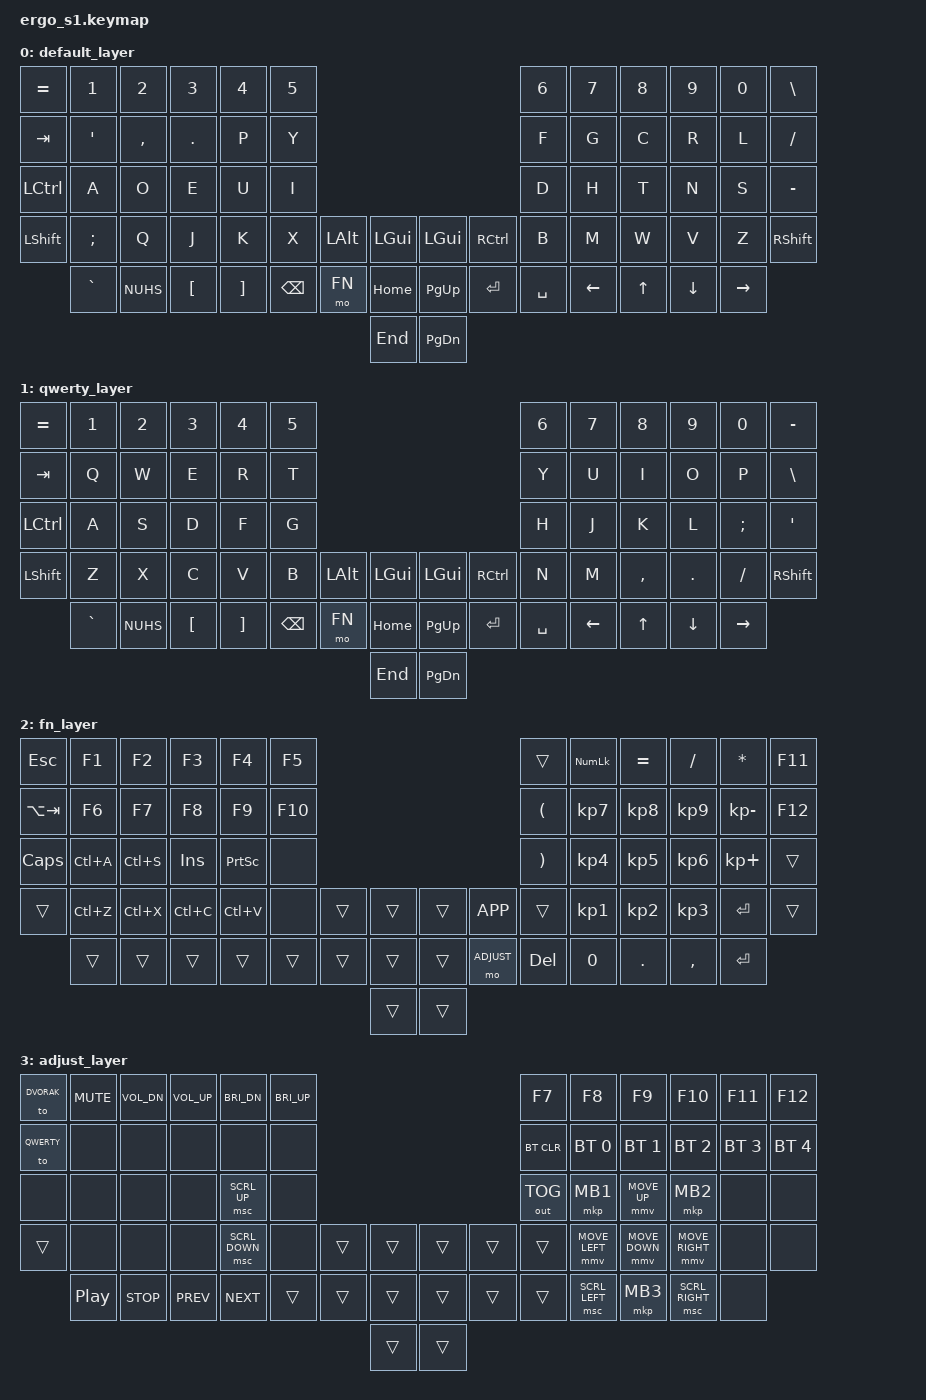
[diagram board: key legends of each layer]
/*
 * Copyright (c) 2021 The ZMK Contributors
 *
 * SPDX-License-Identifier: MIT
 */

#define DVORAK 0
#define QWERTY 1
#define FN 2
#define ADJUST 3

#include <behaviors.dtsi>
#include <dt-bindings/zmk/keys.h>
#include <dt-bindings/zmk/bt.h>
#include <dt-bindings/zmk/ext_power.h>
#include <dt-bindings/zmk/outputs.h>
#include <dt-bindings/zmk/pointing.h>

// |------|------|------|------|------|------|                                                |------|------|------|------|------|------|
// | SW1  | SW2  | SW3  | SW4  | SW5  | SW6  |                                                | SW6  | SW5  | SW4  | SW3  | SW2  | SW1  |
// |------|------|------|------|------|------|                                                |------|------|------|------|------|------|
// | SW7  | SW8  | SW9  | SW10 | SW11 | SW12 |                                                | SW12 | SW11 | SW10 | SW9  | SW8  | SW7  |
// |------|------|------|------|------|------|                                                |------|------|------|------|------|------|
// | SW13 | SW14 | SW15 | SW16 | SW17 | SW18 |                                                | SW18 | SW17 | SW16 | SW15 | SW14 | SW13 |
// |------|------|------|------|------|------|------|------|                    |------|------|------|------|------|------|------|------|
// | SW19 | SW20 | SW21 | SW22 | SW23 | SW24 | SW25 | SW26 |                    | SW26 | SW25 | SW24 | SW23 | SW22 | SW21 | SW20 | SW19 |
// |------|------|------|------|------|------|------|------|                    |------|------|------|------|------|------|------|------|
// |      | SW27 | SW28 | SW29 | SW30 | SW31 | SW32 | SW33 |                    | SW33 | SW32 | SW31 | SW30 | SW29 | SW28 | SW27 |      |
// |------|------|------|------|------|      |      |------|                    |------|      |      |------|------|------|------|------|
//                                    |      |      | SW34 |                    | SW34 |      |      |
//                                    |------|------|------|                    |------|------|------|

/ {
    keymap {
        compatible = "zmk,keymap";

        default_layer {
            // ---------------------------------------------------------------------------------------------------------------------------------
            // | EQLS  |  1   |  2   |  3   |  4   |  5   |                                                   |  6   |  7   |  8   |  9   |  0   | \    |
            // | TAB   |  "   |  <   |  >   |  P   |  Y   |                                                   |  F   |  G   |  C   |  R   |  L   | SLSH |
            // | LCTRL |  A   |  O   |  E   |  U   |  I   |                                                   |  D   |  H   |  T   |  N   |  S   | MINS |
            // | LSHFT |  ;   |  Q   |  J   |  K   |  X   |      | ALT  | WIN  |         | WIN  | CTL  |      |  B   |  M   |  W   |  V   |  Z   | SHFT |
            //         | GRV  |  #/~ |  [   |  ]   |      | BSPC |  FN  | HOME |         | PGUP | ENT  | SPC  |      | LEFT |  UP  |  DN  | RIGH |
            //                                                          | END  |         | PGDN |

            bindings = <
&kp EQUAL   &kp N1     &kp N2      &kp N3    &kp N4     &kp N5                                                                                    &kp N6  &kp N7   &kp N8     &kp N9      &kp N0     &kp BSLH
&kp TAB     &kp SQT    &kp COMMA   &kp DOT   &kp P      &kp Y                                                                                     &kp F   &kp G    &kp C      &kp R       &kp L      &kp SLASH
&kp LCTRL   &kp A      &kp O       &kp E     &kp U      &kp I                                                                                     &kp D   &kp H    &kp T      &kp N       &kp S      &kp MINUS
&kp LSHIFT  &kp SEMI   &kp Q       &kp J     &kp K      &kp X             &kp LALT          &kp LGUI        &kp LGUI       &kp RCTRL              &kp B   &kp M    &kp W      &kp V       &kp Z      &kp RSHIFT
            &kp GRAVE  &kp NUHS    &kp LBKT  &kp RBKT           &kp BSPC  &mo FN            &kp HOME        &kp PG_UP      &kp ENTER  &kp SPACE           &kp LEFT &kp UP     &kp DOWN    &kp RIGHT
                                                                                            &kp END         &kp PG_DN
            >;
        };

    qwerty_layer {
            // ---------------------------------------------------------------------------------------------------------------------------------
            // | EQLS  |  1   |  2   |  3   |  4   |  5   |                                                   |  6   |  7   |  8   |  9   |  0   | MINS |
            // | TAB   |  Q   |  W   |  E   |  R   |  T   |                                                   |  Y   |  U   |  I   |  O   |  P   | \    |
            // | LCTRL |  A   |  S   |  D   |  F   |  G   |                                                   |  D   |  J   |  K   |  L   |  ;   | "    |
            // | LSHFT |  Z   |  X   |  C   |  V   |  B   |      | ALT  | WIN  |         | WIN  | CTL  |      |  B   |  M   |  ,   |  .   |  /   | SHFT |
            //         | GRV  |  #/~ |  [   |  ]   |      | BSPC |  FN  | HOME |         | PGUP | ENT  | SPC  |      | LEFT |  UP  |  DN  | RIGH |
            //                                                          | END  |         | PGDN |
            bindings = <
&kp EQUAL   &kp N1     &kp N2      &kp N3    &kp N4     &kp N5                                                                             &kp N6  &kp N7   &kp N8     &kp N9      &kp N0     &kp MINUS
&kp TAB     &kp Q      &kp W       &kp E     &kp R      &kp T                                                                              &kp Y   &kp U    &kp I      &kp O       &kp P      &kp BSLH
&kp LCTRL   &kp A      &kp S       &kp D     &kp F      &kp G                                                                              &kp H   &kp J    &kp K      &kp L       &kp SCLN   &kp QUOT
&kp LSHIFT  &kp Z      &kp X       &kp C     &kp V      &kp B             &kp LALT   &kp LGUI        &kp LGUI       &kp RCTRL              &kp N   &kp M    &kp COMMA  &kp DOT     &kp SLASH  &kp RSHIFT
            &kp GRAVE  &kp NUHS    &kp LBKT  &kp RBKT           &kp BSPC  &mo FN     &kp HOME        &kp PG_UP      &kp ENTER  &kp SPACE           &kp LEFT &kp UP     &kp DOWN    &kp RIGHT
                                                                                     &kp END         &kp PG_DN
            >;
        };

        fn_layer {
            // ---------------------------------------------------------------------------------------------------------------------------------
            // | ESC  |  F1  |  F2  |  F3  |  F4   |  F5  |                                                   |      | NLCK |  =   |  /   |  *   | F11  |
            // | A-Tab|  F6  |  F7  |  F8  |  F9   |  F10 |                                                   |  (   |  7   |  8   |  9   |  -   | F12  |
            // | SHIFT| C-a  | C-s  | INS  | PRTSC |      |                                                   |  )   |  4   |  5   |  6   |  +   |      |
            // |      | C-z  | C-x  | C-c  | C-v   |      |      |      |      |         |      |C_MENU|      |      |  1   |  2   |  3   | ENT  |      |
            //        |      |      |      |       |      |      |  FN  |      |         |      |ADJUST|  DEL |      |  0   |  .   |  ,   | ENT  |
            //                                                          |      |         |      |

            bindings = <
&kp ESC       &kp F1     &kp F2    &kp F3     &kp F4      &kp F5                                                            &trans       &kp KP_NUM   &kp EQUAL  &kp SLASH      &kp STAR          &kp F11
&kp LA(TAB)   &kp F6     &kp F7    &kp F8     &kp F9      &kp F10                                                           &kp LPAR     &kp KP_N7    &kp KP_N8  &kp KP_N9      &kp KP_MINUS      &kp F12
&kp CAPSLOCK  &kp LC(A)  &kp LC(S) &kp INS    &kp PSCRN   &none                                                             &kp RPAR     &kp KP_N4    &kp KP_N5  &kp KP_N6      &kp KP_PLUS       &trans
&trans        &kp LC(Z)  &kp LC(X) &kp LC(C)  &kp LC(V)   &none             &trans &trans    &trans  &kp K_APP              &trans       &kp KP_N1    &kp KP_N2  &kp KP_N3      &kp ENTER         &trans
              &trans     &trans    &trans     &trans                &trans  &trans &trans    &trans  &mo ADJUST    &kp DEL               &kp N0       &kp DOT    &kp COMMA      &kp ENTER
                                                                                   &trans    &trans
            >;
        };

        adjust_layer {
            // ---------------------------------------------------------------------------------------------------------------------------------
            // |qwert/dvorak|  MUTE    | VOL- | VOL+ | BRI-    | BRI+ |                                                   | F7         |  F8       |  F9  |  F10     |  F11 | F12  |
            // |            |          |      |      |         |      |                                                   | BT_CLR     | BT1       | BT2  |  BT3     |  BT4 | BT5  |
            // |            |          |      |      | SCRL_UP |      |                                                   | OUTPUT TGL | MB1       | M_UP |  MB2     |      |      |
            // |            |          |      |      | SCRL_DN |      |      |      |      |         |      |      |      |            | M_LEFT    | M_DN |  M_RIGHT |      |      |
            //              |PLAY/PAUSE| STOP | NEXT | PREV    |      |      |  FN  |      |         |      |      |      |            | SCRL_LEFT | MB3  |SCRL_RIGHT|      |
            //                                                                      |      |         |      |

            bindings = <
&to DVORAK     &kp C_MUTE  &kp C_VOL_DN    &kp C_VOL_UP    &kp C_BRI_DN    &kp C_BRI_UP                                                        &kp F7        &kp F8            &kp F9          &kp F10             &kp F11         &kp F12
&to QWERTY     &none       &none           &none           &none           &none                                                               &bt BT_CLR    &bt BT_SEL 0      &bt BT_SEL 1    &bt BT_SEL 2        &bt BT_SEL 3    &bt BT_SEL 4
&none          &none       &none           &none           &msc SCRL_UP    &none                                                               &out OUT_TOG  &mkp MB1          &mmv MOVE_UP    &mkp MB2            &none           &none
&trans         &none       &none           &none           &msc SCRL_DOWN  &none                   &trans  &trans    &trans  &trans            &trans        &mmv MOVE_LEFT    &mmv MOVE_DOWN  &mmv MOVE_RIGHT     &none           &none
               &kp C_PP    &kp C_STOP      &kp C_PREV      &kp C_NEXT                      &trans  &trans  &trans    &trans  &trans  &trans                  &msc SCRL_LEFT    &mkp MB3        &msc SCRL_RIGHT     &none
                                                                                                           &trans    &trans
            >;
        };
    };
};
